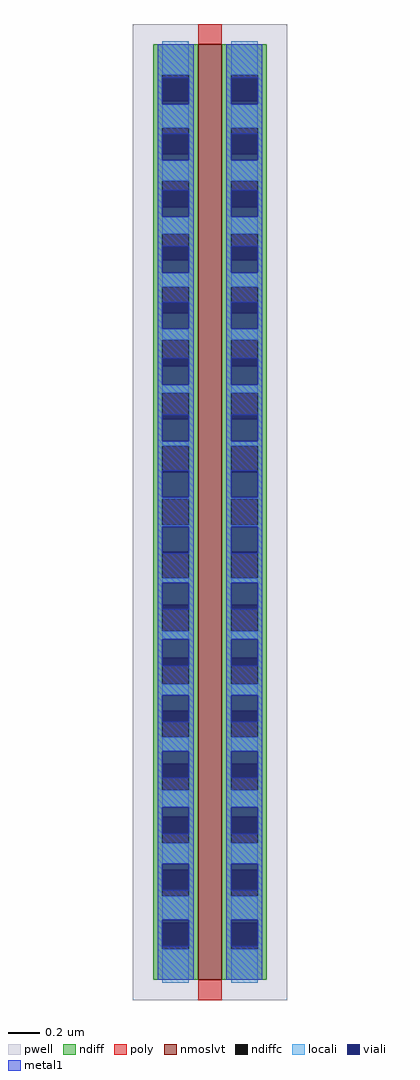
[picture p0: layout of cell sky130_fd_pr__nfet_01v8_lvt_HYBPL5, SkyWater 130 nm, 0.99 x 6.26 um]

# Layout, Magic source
magic
tech sky130A
magscale 1 2
<< pwell >>
rect -99 -626 99 626
<< nmoslvt >>
rect -15 -600 15 600
<< ndiff >>
rect -73 561 -15 600
rect -73 527 -61 561
rect -27 527 -15 561
rect -73 493 -15 527
rect -73 459 -61 493
rect -27 459 -15 493
rect -73 425 -15 459
rect -73 391 -61 425
rect -27 391 -15 425
rect -73 357 -15 391
rect -73 323 -61 357
rect -27 323 -15 357
rect -73 289 -15 323
rect -73 255 -61 289
rect -27 255 -15 289
rect -73 221 -15 255
rect -73 187 -61 221
rect -27 187 -15 221
rect -73 153 -15 187
rect -73 119 -61 153
rect -27 119 -15 153
rect -73 85 -15 119
rect -73 51 -61 85
rect -27 51 -15 85
rect -73 17 -15 51
rect -73 -17 -61 17
rect -27 -17 -15 17
rect -73 -51 -15 -17
rect -73 -85 -61 -51
rect -27 -85 -15 -51
rect -73 -119 -15 -85
rect -73 -153 -61 -119
rect -27 -153 -15 -119
rect -73 -187 -15 -153
rect -73 -221 -61 -187
rect -27 -221 -15 -187
rect -73 -255 -15 -221
rect -73 -289 -61 -255
rect -27 -289 -15 -255
rect -73 -323 -15 -289
rect -73 -357 -61 -323
rect -27 -357 -15 -323
rect -73 -391 -15 -357
rect -73 -425 -61 -391
rect -27 -425 -15 -391
rect -73 -459 -15 -425
rect -73 -493 -61 -459
rect -27 -493 -15 -459
rect -73 -527 -15 -493
rect -73 -561 -61 -527
rect -27 -561 -15 -527
rect -73 -600 -15 -561
rect 15 561 73 600
rect 15 527 27 561
rect 61 527 73 561
rect 15 493 73 527
rect 15 459 27 493
rect 61 459 73 493
rect 15 425 73 459
rect 15 391 27 425
rect 61 391 73 425
rect 15 357 73 391
rect 15 323 27 357
rect 61 323 73 357
rect 15 289 73 323
rect 15 255 27 289
rect 61 255 73 289
rect 15 221 73 255
rect 15 187 27 221
rect 61 187 73 221
rect 15 153 73 187
rect 15 119 27 153
rect 61 119 73 153
rect 15 85 73 119
rect 15 51 27 85
rect 61 51 73 85
rect 15 17 73 51
rect 15 -17 27 17
rect 61 -17 73 17
rect 15 -51 73 -17
rect 15 -85 27 -51
rect 61 -85 73 -51
rect 15 -119 73 -85
rect 15 -153 27 -119
rect 61 -153 73 -119
rect 15 -187 73 -153
rect 15 -221 27 -187
rect 61 -221 73 -187
rect 15 -255 73 -221
rect 15 -289 27 -255
rect 61 -289 73 -255
rect 15 -323 73 -289
rect 15 -357 27 -323
rect 61 -357 73 -323
rect 15 -391 73 -357
rect 15 -425 27 -391
rect 61 -425 73 -391
rect 15 -459 73 -425
rect 15 -493 27 -459
rect 61 -493 73 -459
rect 15 -527 73 -493
rect 15 -561 27 -527
rect 61 -561 73 -527
rect 15 -600 73 -561
<< ndiffc >>
rect -61 527 -27 561
rect -61 459 -27 493
rect -61 391 -27 425
rect -61 323 -27 357
rect -61 255 -27 289
rect -61 187 -27 221
rect -61 119 -27 153
rect -61 51 -27 85
rect -61 -17 -27 17
rect -61 -85 -27 -51
rect -61 -153 -27 -119
rect -61 -221 -27 -187
rect -61 -289 -27 -255
rect -61 -357 -27 -323
rect -61 -425 -27 -391
rect -61 -493 -27 -459
rect -61 -561 -27 -527
rect 27 527 61 561
rect 27 459 61 493
rect 27 391 61 425
rect 27 323 61 357
rect 27 255 61 289
rect 27 187 61 221
rect 27 119 61 153
rect 27 51 61 85
rect 27 -17 61 17
rect 27 -85 61 -51
rect 27 -153 61 -119
rect 27 -221 61 -187
rect 27 -289 61 -255
rect 27 -357 61 -323
rect 27 -425 61 -391
rect 27 -493 61 -459
rect 27 -561 61 -527
<< poly >>
rect -15 600 15 626
rect -15 -626 15 -600
<< locali >>
rect -61 561 -27 604
rect -61 493 -27 523
rect -61 425 -27 451
rect -61 357 -27 379
rect -61 289 -27 307
rect -61 221 -27 235
rect -61 153 -27 163
rect -61 85 -27 91
rect -61 17 -27 19
rect -61 -19 -27 -17
rect -61 -91 -27 -85
rect -61 -163 -27 -153
rect -61 -235 -27 -221
rect -61 -307 -27 -289
rect -61 -379 -27 -357
rect -61 -451 -27 -425
rect -61 -523 -27 -493
rect -61 -604 -27 -561
rect 27 561 61 604
rect 27 493 61 523
rect 27 425 61 451
rect 27 357 61 379
rect 27 289 61 307
rect 27 221 61 235
rect 27 153 61 163
rect 27 85 61 91
rect 27 17 61 19
rect 27 -19 61 -17
rect 27 -91 61 -85
rect 27 -163 61 -153
rect 27 -235 61 -221
rect 27 -307 61 -289
rect 27 -379 61 -357
rect 27 -451 61 -425
rect 27 -523 61 -493
rect 27 -604 61 -561
<< viali >>
rect -61 527 -27 557
rect -61 523 -27 527
rect -61 459 -27 485
rect -61 451 -27 459
rect -61 391 -27 413
rect -61 379 -27 391
rect -61 323 -27 341
rect -61 307 -27 323
rect -61 255 -27 269
rect -61 235 -27 255
rect -61 187 -27 197
rect -61 163 -27 187
rect -61 119 -27 125
rect -61 91 -27 119
rect -61 51 -27 53
rect -61 19 -27 51
rect -61 -51 -27 -19
rect -61 -53 -27 -51
rect -61 -119 -27 -91
rect -61 -125 -27 -119
rect -61 -187 -27 -163
rect -61 -197 -27 -187
rect -61 -255 -27 -235
rect -61 -269 -27 -255
rect -61 -323 -27 -307
rect -61 -341 -27 -323
rect -61 -391 -27 -379
rect -61 -413 -27 -391
rect -61 -459 -27 -451
rect -61 -485 -27 -459
rect -61 -527 -27 -523
rect -61 -557 -27 -527
rect 27 527 61 557
rect 27 523 61 527
rect 27 459 61 485
rect 27 451 61 459
rect 27 391 61 413
rect 27 379 61 391
rect 27 323 61 341
rect 27 307 61 323
rect 27 255 61 269
rect 27 235 61 255
rect 27 187 61 197
rect 27 163 61 187
rect 27 119 61 125
rect 27 91 61 119
rect 27 51 61 53
rect 27 19 61 51
rect 27 -51 61 -19
rect 27 -53 61 -51
rect 27 -119 61 -91
rect 27 -125 61 -119
rect 27 -187 61 -163
rect 27 -197 61 -187
rect 27 -255 61 -235
rect 27 -269 61 -255
rect 27 -323 61 -307
rect 27 -341 61 -323
rect 27 -391 61 -379
rect 27 -413 61 -391
rect 27 -459 61 -451
rect 27 -485 61 -459
rect 27 -527 61 -523
rect 27 -557 61 -527
<< metal1 >>
rect -67 557 -21 600
rect -67 523 -61 557
rect -27 523 -21 557
rect -67 485 -21 523
rect -67 451 -61 485
rect -27 451 -21 485
rect -67 413 -21 451
rect -67 379 -61 413
rect -27 379 -21 413
rect -67 341 -21 379
rect -67 307 -61 341
rect -27 307 -21 341
rect -67 269 -21 307
rect -67 235 -61 269
rect -27 235 -21 269
rect -67 197 -21 235
rect -67 163 -61 197
rect -27 163 -21 197
rect -67 125 -21 163
rect -67 91 -61 125
rect -27 91 -21 125
rect -67 53 -21 91
rect -67 19 -61 53
rect -27 19 -21 53
rect -67 -19 -21 19
rect -67 -53 -61 -19
rect -27 -53 -21 -19
rect -67 -91 -21 -53
rect -67 -125 -61 -91
rect -27 -125 -21 -91
rect -67 -163 -21 -125
rect -67 -197 -61 -163
rect -27 -197 -21 -163
rect -67 -235 -21 -197
rect -67 -269 -61 -235
rect -27 -269 -21 -235
rect -67 -307 -21 -269
rect -67 -341 -61 -307
rect -27 -341 -21 -307
rect -67 -379 -21 -341
rect -67 -413 -61 -379
rect -27 -413 -21 -379
rect -67 -451 -21 -413
rect -67 -485 -61 -451
rect -27 -485 -21 -451
rect -67 -523 -21 -485
rect -67 -557 -61 -523
rect -27 -557 -21 -523
rect -67 -600 -21 -557
rect 21 557 67 600
rect 21 523 27 557
rect 61 523 67 557
rect 21 485 67 523
rect 21 451 27 485
rect 61 451 67 485
rect 21 413 67 451
rect 21 379 27 413
rect 61 379 67 413
rect 21 341 67 379
rect 21 307 27 341
rect 61 307 67 341
rect 21 269 67 307
rect 21 235 27 269
rect 61 235 67 269
rect 21 197 67 235
rect 21 163 27 197
rect 61 163 67 197
rect 21 125 67 163
rect 21 91 27 125
rect 61 91 67 125
rect 21 53 67 91
rect 21 19 27 53
rect 61 19 67 53
rect 21 -19 67 19
rect 21 -53 27 -19
rect 61 -53 67 -19
rect 21 -91 67 -53
rect 21 -125 27 -91
rect 61 -125 67 -91
rect 21 -163 67 -125
rect 21 -197 27 -163
rect 61 -197 67 -163
rect 21 -235 67 -197
rect 21 -269 27 -235
rect 61 -269 67 -235
rect 21 -307 67 -269
rect 21 -341 27 -307
rect 61 -341 67 -307
rect 21 -379 67 -341
rect 21 -413 27 -379
rect 61 -413 67 -379
rect 21 -451 67 -413
rect 21 -485 27 -451
rect 61 -485 67 -451
rect 21 -523 67 -485
rect 21 -557 27 -523
rect 61 -557 67 -523
rect 21 -600 67 -557
<< end >>
